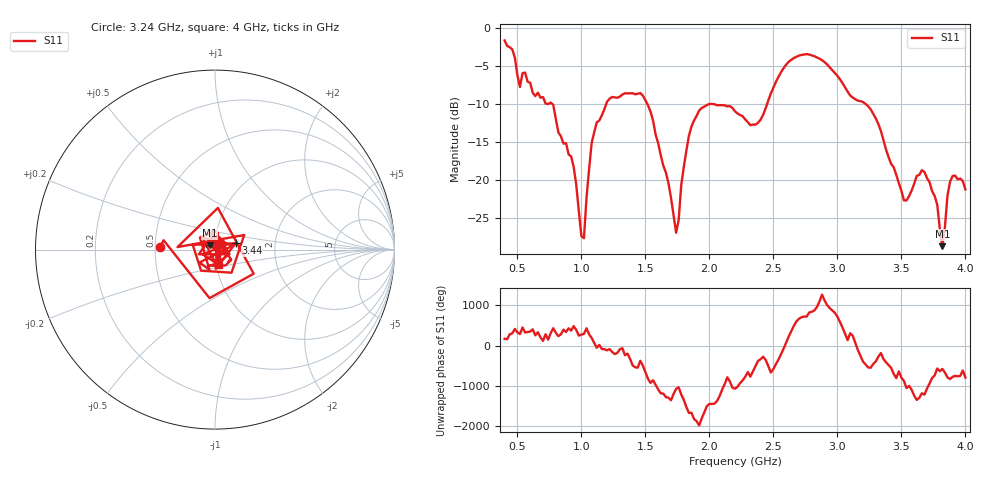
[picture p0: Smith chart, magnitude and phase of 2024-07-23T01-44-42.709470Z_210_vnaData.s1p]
!Created with skrf (http://scikit-rf.org).
# Hz S RI R 50.0
!freq ReS11 ImS11
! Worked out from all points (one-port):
!   181 points, 400 MHz to 4 GHz, reference 50 ohm
!   lowest |S11| = -28.8 dB at 3.82 GHz (marker M1), VSWR 1.08, Z = 47.2 + j2.18 ohm
!   |S11| at or under -10 dB: 1.515 GHz to 2 GHz (485.2 MHz wide, 27.6 % of centre); 2.007 GHz to 2.451 GHz (444.5 MHz wide, 19.9 % of centre); 3.22 GHz to end of sweep (the widest 3 of 5)
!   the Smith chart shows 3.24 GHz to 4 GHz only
!   S11 on the Smith chart (normalised r, x): 3.24 GHz: 0.53, +0.02; 3.44 GHz: 1.26, +0.09; 4 GHz: 1.03, -0.17
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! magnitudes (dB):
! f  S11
! 400 MHz  -1.6
! 520 MHz  -7.8
! 560 MHz  -5.9
! 780 MHz  -10.1
! 860 MHz  -15.2
! 940 MHz  -18.3
! 1.02 GHz  -27.7
! 1.06 GHz  -18.6
! 1.1 GHz  -13.7
! 1.3 GHz  -9.0
! 1.52 GHz  -10.2
! 1.74 GHz  -27.0
! 1.76 GHz  -25.3
! 1.84 GHz  -14.2
! 1.92 GHz  -10.9
! 2.2 GHz  -11.0
! 2.38 GHz  -12.5
! 2.66 GHz  -3.9
! 2.88 GHz  -4.2
! 3.1 GHz  -8.9
! 3.24 GHz  -10.3
! 3.44 GHz  -18.4
! 3.56 GHz  -22.2
! 3.68 GHz  -19.0
! 3.78 GHz  -23.3
! 3.82 GHz  -28.8
! 3.88 GHz  -20.3
! 4 GHz  -21.3
